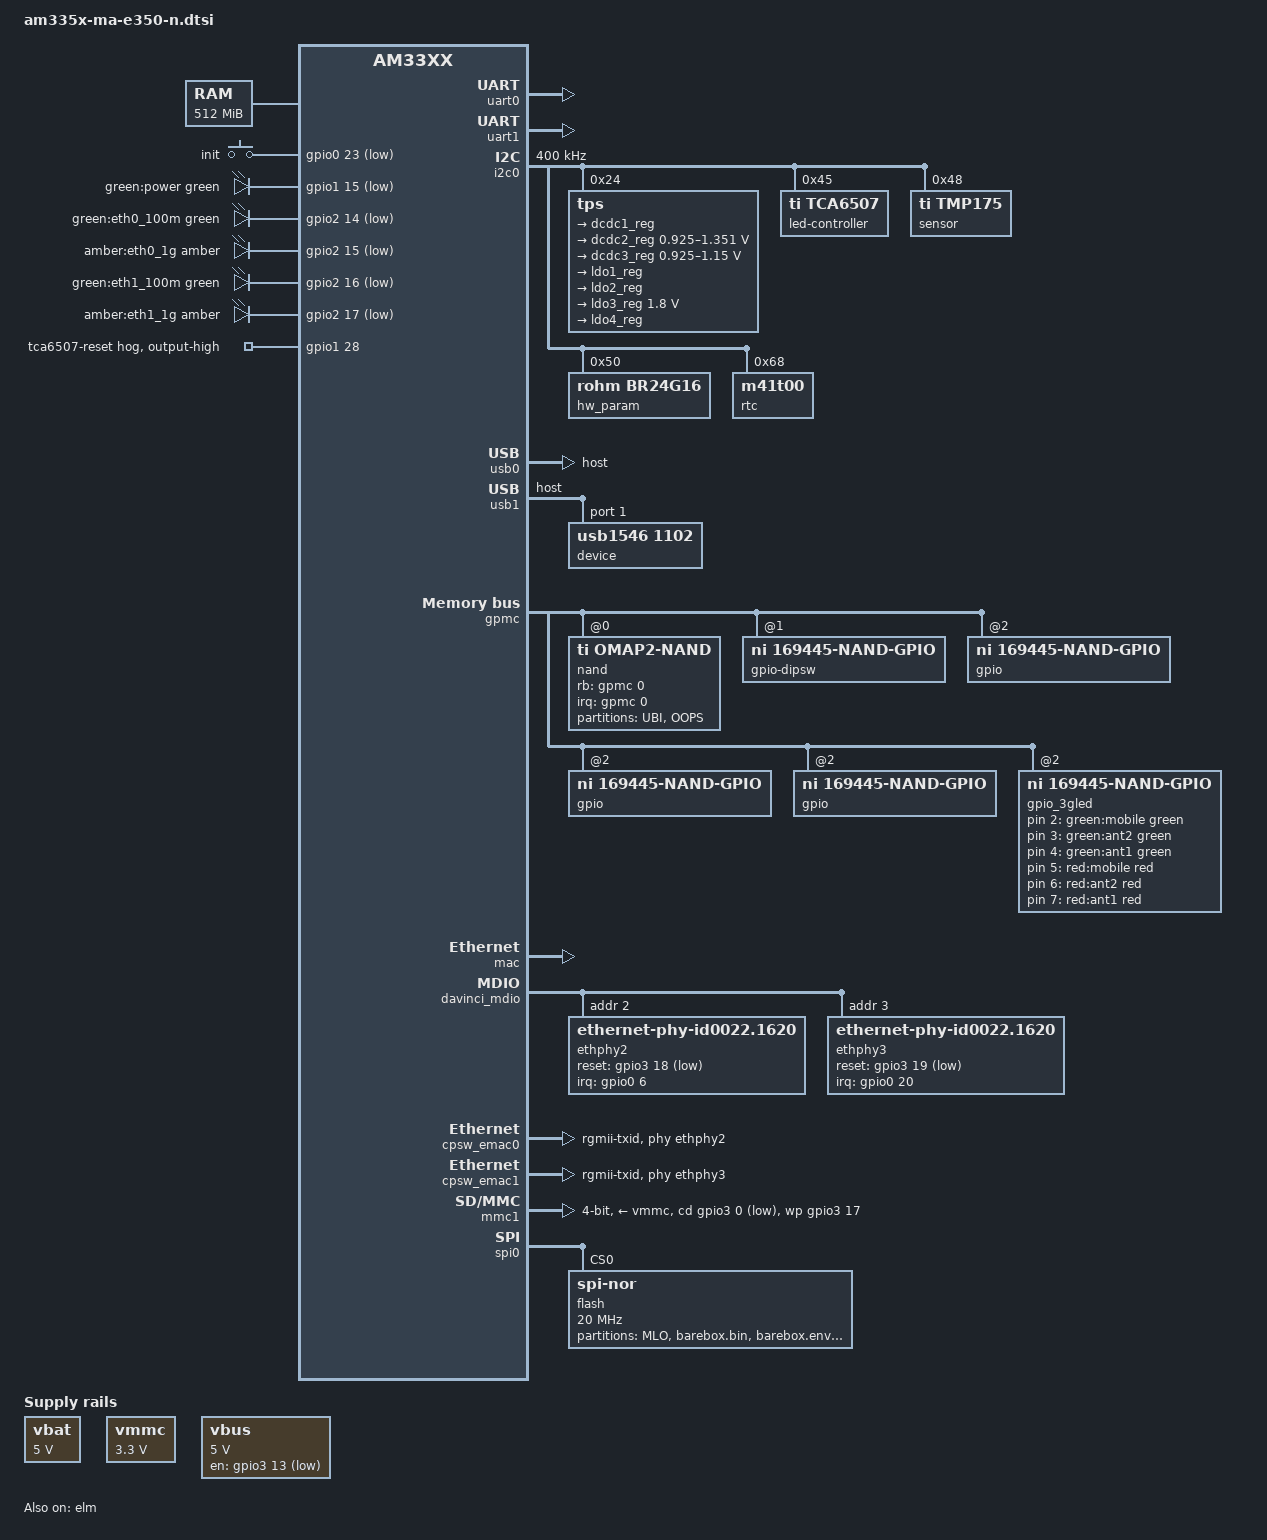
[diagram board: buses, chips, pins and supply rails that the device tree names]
// SPDX-License-Identifier: GPL-2.0-or-later

/dts-v1/;

#include "am33xx.dtsi"

#include <dt-bindings/input/input.h>
#include <dt-bindings/leds/common.h>
#include <dt-bindings/interrupt-controller/irq.h>

/ {
	cpus {
		cpu@0 {
			cpu0-supply = <&dcdc2_reg>;
		};
	};

	memory@80000000 {
		device_type = "memory";
		reg = <0x80000000 0x20000000>; /* 512 MiB */
	};

	aliases {
		led-boot = &led_green_power;
		led-failsafe = &led_red_power;
		led-running = &led_green_power;
		led-upgrade = &led_green_power;
	};

	vbat: regulator-vbat {
		compatible = "regulator-fixed";
		regulator-name = "vbat";
		regulator-min-microvolt = <5000000>;
		regulator-max-microvolt = <5000000>;
		regulator-boot-on;
		regulator-always-on;
	};

	vmmc: regulator-vmmc {
		compatible = "regulator-fixed";
		regulator-name = "vmmc";
		regulator-min-microvolt = <3300000>;
		regulator-max-microvolt = <3300000>;
	};

	vbus: regulator-vbus {
		compatible = "regulator-fixed";
		regulator-name = "vbus";
		regulator-min-microvolt = <5000000>;
		regulator-max-microvolt = <5000000>;
		gpio = <&gpio3 13 GPIO_ACTIVE_HIGH>;
		regulator-always-on;
	};

	keys {
		pinctrl-names = "default";
		pinctrl-0 = <&pmx_key_pins>;
		compatible = "gpio-keys";

		init {
			label = "init";
			gpios = <&gpio0 23 GPIO_ACTIVE_LOW>;
			linux,code = <BTN_0>;
			wakeup-source;
		};
	};

	leds {
		pinctrl-names = "default";
		pinctrl-0 = <&pmx_led_pins>;
		compatible = "gpio-leds";

		led_green_power: led-0 {
			label = "green:power";
			gpios = <&gpio1 15 GPIO_ACTIVE_LOW>;
			color = <LED_COLOR_ID_GREEN>;
			function = LED_FUNCTION_POWER;
		};

		led-1 {
			label = "green:eth0_100m";
			gpios = <&gpio2 14 GPIO_ACTIVE_LOW>;
			color = <LED_COLOR_ID_GREEN>;
			function = LED_FUNCTION_INDICATOR;
			function-enumerator = <1>;
		};

		led-2 {
			label = "amber:eth0_1g";
			gpios = <&gpio2 15 GPIO_ACTIVE_LOW>;
			color = <LED_COLOR_ID_AMBER>;
			function = LED_FUNCTION_INDICATOR;
			function-enumerator = <1>;
		};

		led-3 {
			label = "green:eth1_100m";
			gpios = <&gpio2 16 GPIO_ACTIVE_LOW>;
			color = <LED_COLOR_ID_GREEN>;
			function = LED_FUNCTION_INDICATOR;
			function-enumerator = <2>;
		};

		led-4 {
			label = "amber:eth1_1g";
			gpios = <&gpio2 17 GPIO_ACTIVE_LOW>;
			color = <LED_COLOR_ID_AMBER>;
			funtion = LED_FUNCTION_INDICATOR;
			function-enumerator = <2>;
		};

		/* 3G board */
		led-5 {
			label = "green:mobile";
			gpios = <&gpio_3gled 2 GPIO_ACTIVE_HIGH>;
			color = <LED_COLOR_ID_GREEN>;
		};

		led-6 {
			label = "green:ant2";
			gpios = <&gpio_3gled 3 GPIO_ACTIVE_HIGH>;
			color = <LED_COLOR_ID_GREEN>;
			function = LED_FUNCTION_WLAN;
			function-enumerator = <2>;
		};

		led-7 {
			label = "green:ant1";
			gpios = <&gpio_3gled 4 GPIO_ACTIVE_HIGH>;
			color = <LED_COLOR_ID_GREEN>;
			funtion = LED_FUNCTION_WLAN;
			function-enumerator = <1>;
		};

		led-8 {
			label = "red:mobile";
			gpios = <&gpio_3gled 5 GPIO_ACTIVE_HIGH>;
			color = <LED_COLOR_ID_RED>;
		};

		led-9 {
			label = "red:ant2";
			gpios = <&gpio_3gled 6 GPIO_ACTIVE_HIGH>;
			color = <LED_COLOR_ID_RED>;
			funtion = LED_FUNCTION_WLAN;
			function-enumerator = <2>;
		};

		led-10 {
			label = "red:ant1";
			gpios = <&gpio_3gled 7 GPIO_ACTIVE_HIGH>;
			color = <LED_COLOR_ID_RED>;
			function = LED_FUNCTION_WLAN;
			function-enumerator = <1>;
		};
	};
};

&am33xx_pinmux {
	pmx_i2c0_pins: i2c0_pins {
		pinctrl-single,pins = <
			AM33XX_PADCONF(AM335X_PIN_I2C0_SDA, PIN_INPUT_PULLUP, MUX_MODE0) /* i2c0_sda.i2c0_sda */
			AM33XX_PADCONF(AM335X_PIN_I2C0_SCL, PIN_INPUT_PULLUP, MUX_MODE0) /* i2c0_scl.i2c0_scl */
		>;
	};

	pmx_spi0_pins: spi0_pins {
		pinctrl-single,pins = <
			AM33XX_PADCONF(AM335X_PIN_SPI0_SCLK, PIN_INPUT, MUX_MODE0) /* spi0_sclk.spi0_sclk */
			AM33XX_PADCONF(AM335X_PIN_SPI0_D0,   PIN_INPUT, MUX_MODE0) /* spi0_d0.spi0_d0 */
			AM33XX_PADCONF(AM335X_PIN_SPI0_D1,   PIN_INPUT, MUX_MODE0) /* spi0_d1.spi0_d1 */
			AM33XX_PADCONF(AM335X_PIN_SPI0_CS0,  PIN_INPUT, MUX_MODE0) /* spi0_cs0.spi0_cs0 */
		>;
	};

	pmx_uart0_pins: uart0_pins {
		pinctrl-single,pins = <
			AM33XX_PADCONF(AM335X_PIN_UART0_RXD,  PIN_INPUT,  MUX_MODE0) /* uart0_rxd.uart0_rxd */
			AM33XX_PADCONF(AM335X_PIN_UART0_TXD,  PIN_OUTPUT, MUX_MODE0) /* uart0_txd.uart0_txd */
			AM33XX_PADCONF(AM335X_PIN_UART0_RTSN, PIN_OUTPUT, MUX_MODE0) /* uart0_rtsn.uart0_rtsn */
			AM33XX_PADCONF(AM335X_PIN_UART0_CTSN, PIN_INPUT,  MUX_MODE0) /* uart0_ctsn.uart0_ctsn */

			AM33XX_PADCONF(AM335X_PIN_LCD_VSYNC,  PIN_OUTPUT, MUX_MODE7) /* lcd_vsync.gpio2_22 (DTR) */
			AM33XX_PADCONF(AM335X_PIN_LCD_HSYNC,  PIN_INPUT,  MUX_MODE7) /* lcd_hsync.gpio2_23 (DSR) */
			AM33XX_PADCONF(AM335X_PIN_LCD_PCLK,   PIN_INPUT,  MUX_MODE7) /* lcd_pclk.gpio2_24  (DCD) */
		>;
	};

	pmx_uart1_pins: uart1_pins {
		pinctrl-single,pins = <
			AM33XX_PADCONF(AM335X_PIN_UART1_RXD,  PIN_INPUT,  MUX_MODE0) /* uart1_rxd.uart1_rxd */
			AM33XX_PADCONF(AM335X_PIN_UART1_TXD,  PIN_OUTPUT, MUX_MODE0) /* uart1_txd.uart1_txd */
			AM33XX_PADCONF(AM335X_PIN_UART1_RTSN, PIN_OUTPUT, MUX_MODE0) /* uart1_rtsn.uart1_rtsn */
			AM33XX_PADCONF(AM335X_PIN_UART1_CTSN, PIN_INPUT,  MUX_MODE0) /* uart1_ctsn.uart1_ctsn */

			AM33XX_PADCONF(AM335X_PIN_GPMC_AD12,  PIN_OUTPUT, MUX_MODE7) /* gpmc_ad12.gpio1_12 (DTR) */
			AM33XX_PADCONF(AM335X_PIN_GPMC_AD13,  PIN_INPUT,  MUX_MODE7) /* gpmc_ad13.gpio1_13 (DSR) */
			AM33XX_PADCONF(AM335X_PIN_GPMC_AD14,  PIN_INPUT,  MUX_MODE7) /* gpmc_ad14.gpio1_14 (DCD) */
			AM33XX_PADCONF(AM335X_PIN_GPMC_AD11,  PIN_INPUT,  MUX_MODE7) /* gpmc_ad11.gpio0_27 (RNG) */

			AM33XX_PADCONF(AM335X_PIN_MCASP0_AXR1,   PIN_OUTPUT, MUX_MODE7) /* mcasp0_axr1.gpio3_20  (TXEN) */
			AM33XX_PADCONF(AM335X_PIN_MCASP0_AHCLKX, PIN_OUTPUT, MUX_MODE7) /* mcasp0_ahclkx.gpio3_21 (RXEN) */
		>;
	};

	pmx_nandflash_pins_s0: nandflash_pins_0 {
		pinctrl-single,pins = <
			AM33XX_PADCONF(AM335X_PIN_GPMC_AD0,      PIN_INPUT,  MUX_MODE0) /* gpmc_ad0.gpmc_ad0 */
			AM33XX_PADCONF(AM335X_PIN_GPMC_AD1,      PIN_INPUT,  MUX_MODE0) /* gpmc_ad1.gpmc_ad1 */
			AM33XX_PADCONF(AM335X_PIN_GPMC_AD2,      PIN_INPUT,  MUX_MODE0) /* gpmc_ad2.gpmc_ad2 */
			AM33XX_PADCONF(AM335X_PIN_GPMC_AD3,      PIN_INPUT,  MUX_MODE0) /* gpmc_ad3.gpmc_ad3 */
			AM33XX_PADCONF(AM335X_PIN_GPMC_AD4,      PIN_INPUT,  MUX_MODE0) /* gpmc_ad4.gpmc_ad4 */
			AM33XX_PADCONF(AM335X_PIN_GPMC_AD5,      PIN_INPUT,  MUX_MODE0) /* gpmc_ad5.gpmc_ad5 */
			AM33XX_PADCONF(AM335X_PIN_GPMC_AD6,      PIN_INPUT,  MUX_MODE0) /* gpmc_ad6.gpmc_ad6 */
			AM33XX_PADCONF(AM335X_PIN_GPMC_AD7,      PIN_INPUT,  MUX_MODE0) /* gpmc_ad7.gpmc_ad7 */
			AM33XX_PADCONF(AM335X_PIN_GPMC_WAIT0,    PIN_INPUT,  MUX_MODE0) /* gpmc_wait0.gpmc_wait0 */
			AM33XX_PADCONF(AM335X_PIN_GPMC_WPN,      PIN_OUTPUT, MUX_MODE7) /* gpmc_wpn.gpio0_30 */
			AM33XX_PADCONF(AM335X_PIN_GPMC_CSN0,     PIN_OUTPUT, MUX_MODE0) /* gpmc_csn0.gpmc_csn0  */
			AM33XX_PADCONF(AM335X_PIN_GPMC_ADVN_ALE, PIN_OUTPUT, MUX_MODE0) /* gpmc_advn_ale.gpmc_advn_ale */
			AM33XX_PADCONF(AM335X_PIN_GPMC_OEN_REN,  PIN_OUTPUT, MUX_MODE0) /* gpmc_oen_ren.gpmc_oen_ren */
			AM33XX_PADCONF(AM335X_PIN_GPMC_WEN,      PIN_OUTPUT, MUX_MODE0) /* gpmc_wen.gpmc_wen */
			AM33XX_PADCONF(AM335X_PIN_GPMC_BEN0_CLE, PIN_OUTPUT, MUX_MODE0) /* gpmc_be0n_cle.gpmc_be0n_cle */
		>;
	};

	pmx_cpsw_default: cpsw_default {
		pinctrl-single,pins = <
			/* Slave 1 */
			AM33XX_PADCONF(AM335X_PIN_MII1_TX_EN,  PIN_OUTPUT_PULLDOWN, MUX_MODE2) /* mii1_txen.rgmii1_tctl */
			AM33XX_PADCONF(AM335X_PIN_MII1_RX_DV,  PIN_INPUT_PULLDOWN,  MUX_MODE2) /* mii1_rxdv.rgmii1_rctl */
			AM33XX_PADCONF(AM335X_PIN_MII1_TXD3,   PIN_OUTPUT_PULLDOWN, MUX_MODE2) /* mii1_txd3.rgmii1_td3 */
			AM33XX_PADCONF(AM335X_PIN_MII1_TXD2,   PIN_OUTPUT_PULLDOWN, MUX_MODE2) /* mii1_txd2.rgmii1_td2 */
			AM33XX_PADCONF(AM335X_PIN_MII1_TXD1,   PIN_OUTPUT_PULLDOWN, MUX_MODE2) /* mii1_txd1.rgmii1_td1 */
			AM33XX_PADCONF(AM335X_PIN_MII1_TXD0,   PIN_OUTPUT_PULLDOWN, MUX_MODE2) /* mii1_txd0.rgmii1_td0 */
			AM33XX_PADCONF(AM335X_PIN_MII1_TX_CLK, PIN_OUTPUT_PULLDOWN, MUX_MODE2) /* mii1_txclk.rgmii1_tclk */
			AM33XX_PADCONF(AM335X_PIN_MII1_RX_CLK, PIN_INPUT_PULLDOWN,  MUX_MODE2) /* mii1_rxclk.rgmii1_rclk */
			AM33XX_PADCONF(AM335X_PIN_MII1_RXD3,   PIN_INPUT_PULLDOWN,  MUX_MODE2) /* mii1_rxd3.rgmii1_rd3 */
			AM33XX_PADCONF(AM335X_PIN_MII1_RXD2,   PIN_INPUT_PULLDOWN,  MUX_MODE2) /* mii1_rxd2.rgmii1_rd2 */
			AM33XX_PADCONF(AM335X_PIN_MII1_RXD1,   PIN_INPUT_PULLDOWN,  MUX_MODE2) /* mii1_rxd1.rgmii1_rd1 */
			AM33XX_PADCONF(AM335X_PIN_MII1_RXD0,   PIN_INPUT_PULLDOWN,  MUX_MODE2) /* mii1_rxd0.rgmii1_rd0 */

			/* Slave 2 */
			AM33XX_PADCONF(AM335X_PIN_GPMC_A0,  PIN_OUTPUT_PULLDOWN, MUX_MODE2) /* gpmc_a0.rgmii2_tctl */
			AM33XX_PADCONF(AM335X_PIN_GPMC_A1,  PIN_INPUT_PULLDOWN,  MUX_MODE2) /* gpmc_a1.rgmii2_rctl */
			AM33XX_PADCONF(AM335X_PIN_GPMC_A2,  PIN_OUTPUT_PULLDOWN, MUX_MODE2) /* gpmc_a2.rgmii2_td3 */
			AM33XX_PADCONF(AM335X_PIN_GPMC_A3,  PIN_OUTPUT_PULLDOWN, MUX_MODE2) /* gpmc_a3.rgmii2_td2 */
			AM33XX_PADCONF(AM335X_PIN_GPMC_A4,  PIN_OUTPUT_PULLDOWN, MUX_MODE2) /* gpmc_a4.rgmii2_td1 */
			AM33XX_PADCONF(AM335X_PIN_GPMC_A5,  PIN_OUTPUT_PULLDOWN, MUX_MODE2) /* gpmc_a5.rgmii2_td0 */
			AM33XX_PADCONF(AM335X_PIN_GPMC_A6,  PIN_OUTPUT_PULLDOWN, MUX_MODE2) /* gpmc_a6.rgmii2_tclk */
			AM33XX_PADCONF(AM335X_PIN_GPMC_A7,  PIN_INPUT_PULLDOWN,  MUX_MODE2) /* gpmc_a7.rgmii2_rclk */
			AM33XX_PADCONF(AM335X_PIN_GPMC_A8,  PIN_INPUT_PULLDOWN,  MUX_MODE2) /* gpmc_a8.rgmii2_rd3 */
			AM33XX_PADCONF(AM335X_PIN_GPMC_A9,  PIN_INPUT_PULLDOWN,  MUX_MODE2) /* gpmc_a9.rgmii2_rd2 */
			AM33XX_PADCONF(AM335X_PIN_GPMC_A10, PIN_INPUT_PULLDOWN,  MUX_MODE2) /* gpmc_a10.rgmii2_rd1 */
			AM33XX_PADCONF(AM335X_PIN_GPMC_A11, PIN_INPUT_PULLDOWN,  MUX_MODE2) /* gpmc_a11.rgmii2_rd0 */
		>;
	};

	pmx_cpsw_sleep: cpsw_sleep {
		pinctrl-single,pins = <
			/* Slave 1 */
			AM33XX_PADCONF(AM335X_PIN_MII1_TX_EN,  PIN_INPUT_PULLDOWN, MUX_MODE7) /* mii1_txen.rgmii1_tctl */
			AM33XX_PADCONF(AM335X_PIN_MII1_RX_DV,  PIN_INPUT_PULLDOWN, MUX_MODE7) /* mii1_rxdv.rgmii1_rctl */
			AM33XX_PADCONF(AM335X_PIN_MII1_TXD3,   PIN_INPUT_PULLDOWN, MUX_MODE7) /* mii1_txd3.rgmii1_td3 */
			AM33XX_PADCONF(AM335X_PIN_MII1_TXD2,   PIN_INPUT_PULLDOWN, MUX_MODE7) /* mii1_txd2.rgmii1_td2 */
			AM33XX_PADCONF(AM335X_PIN_MII1_TXD1,   PIN_INPUT_PULLDOWN, MUX_MODE7) /* mii1_txd1.rgmii1_td1 */
			AM33XX_PADCONF(AM335X_PIN_MII1_TXD0,   PIN_INPUT_PULLDOWN, MUX_MODE7) /* mii1_txd0.rgmii1_td0 */
			AM33XX_PADCONF(AM335X_PIN_MII1_TX_CLK, PIN_INPUT_PULLDOWN, MUX_MODE7) /* mii1_txclk.rgmii1_tclk */
			AM33XX_PADCONF(AM335X_PIN_MII1_RX_CLK, PIN_INPUT_PULLDOWN, MUX_MODE7) /* mii1_rxclk.rgmii1_rclk */
			AM33XX_PADCONF(AM335X_PIN_MII1_RXD3,   PIN_INPUT_PULLDOWN, MUX_MODE7) /* mii1_rxd3.rgmii1_rd3 */
			AM33XX_PADCONF(AM335X_PIN_MII1_RXD2,   PIN_INPUT_PULLDOWN, MUX_MODE7) /* mii1_rxd2.rgmii1_rd2 */
			AM33XX_PADCONF(AM335X_PIN_MII1_RXD1,   PIN_INPUT_PULLDOWN, MUX_MODE7) /* mii1_rxd1.rgmii1_rd1 */
			AM33XX_PADCONF(AM335X_PIN_MII1_RXD0,   PIN_INPUT_PULLDOWN, MUX_MODE7) /* mii1_rxd0.rgmii1_rd0 */

			/* Slave 2 */
			AM33XX_PADCONF(AM335X_PIN_GPMC_A0,  PIN_INPUT_PULLDOWN, MUX_MODE7) /* gpmc_a0.rgmii2_tctl */
			AM33XX_PADCONF(AM335X_PIN_GPMC_A1,  PIN_INPUT_PULLDOWN, MUX_MODE7) /* gpmc_a1.rgmii2_rctl */
			AM33XX_PADCONF(AM335X_PIN_GPMC_A2,  PIN_INPUT_PULLDOWN, MUX_MODE7) /* gpmc_a2.rgmii2_td3 */
			AM33XX_PADCONF(AM335X_PIN_GPMC_A3,  PIN_INPUT_PULLDOWN, MUX_MODE7) /* gpmc_a3.rgmii2_td2 */
			AM33XX_PADCONF(AM335X_PIN_GPMC_A4,  PIN_INPUT_PULLDOWN, MUX_MODE7) /* gpmc_a4.rgmii2_td1 */
			AM33XX_PADCONF(AM335X_PIN_GPMC_A5,  PIN_INPUT_PULLDOWN, MUX_MODE7) /* gpmc_a5.rgmii2_td0 */
			AM33XX_PADCONF(AM335X_PIN_GPMC_A6,  PIN_INPUT_PULLDOWN, MUX_MODE7) /* gpmc_a6.rgmii2_tclk */
			AM33XX_PADCONF(AM335X_PIN_GPMC_A7,  PIN_INPUT_PULLDOWN, MUX_MODE7) /* gpmc_a7.rgmii2_rclk */
			AM33XX_PADCONF(AM335X_PIN_GPMC_A8,  PIN_INPUT_PULLDOWN, MUX_MODE7) /* gpmc_a8.rgmii2_rd3 */
			AM33XX_PADCONF(AM335X_PIN_GPMC_A9,  PIN_INPUT_PULLDOWN, MUX_MODE7) /* gpmc_a9.rgmii2_rd2 */
			AM33XX_PADCONF(AM335X_PIN_GPMC_A10, PIN_INPUT_PULLDOWN, MUX_MODE7) /* gpmc_a10.rgmii2_rd1 */
			AM33XX_PADCONF(AM335X_PIN_GPMC_A11, PIN_INPUT_PULLDOWN, MUX_MODE7) /* gpmc_a11.rgmii2_rd0 */
		>;
	};

	pmx_davinci_mdio_default: davinci_mdio_default {
		pinctrl-single,pins = <
			/* MDIO */
			AM33XX_PADCONF(AM335X_PIN_MDIO, PIN_INPUT | SLEWCTRL_SLOW, MUX_MODE0) /* mdio_data.mdio_data */
			AM33XX_PADCONF(AM335X_PIN_MDC,  PIN_OUTPUT, MUX_MODE0)                /* mdio_clk.mdio_clk */

			/* PHY0/1 Reset */
			AM33XX_PADCONF(AM335X_PIN_MCASP0_ACLKR, PIN_OUTPUT, MUX_MODE7) /* mcasp0_aclkr.gpio3_18 */
			AM33XX_PADCONF(AM335X_PIN_MCASP0_FSR,   PIN_OUTPUT, MUX_MODE7) /* mcasp0_fsr.gpio3_19 */

			/* PHY0/1 Interrupt */
			AM33XX_PADCONF(AM335X_PIN_SPI0_CS1,         PIN_INPUT, MUX_MODE7) /* spi0_cs1.gpio0_6 */
			AM33XX_PADCONF(AM335X_PIN_XDMA_EVENT_INTR1, PIN_INPUT, MUX_MODE7) /* xdma_event_intr1.gpio0_20 */
		>;
	};

	pmx_davinci_mdio_sleep: davinci_mdio_sleep {
		pinctrl-single,pins = <
			/* MDIO */
			AM33XX_PADCONF(AM335X_PIN_MDIO, PIN_INPUT_PULLDOWN, MUX_MODE7) /* mdio_data.mdio_data */
			AM33XX_PADCONF(AM335X_PIN_MDC,  PIN_INPUT_PULLDOWN, MUX_MODE7) /* mdio_clk.mdio_clk */

			/* PHY0/1 Reset */
			AM33XX_PADCONF(AM335X_PIN_MCASP0_ACLKR, PIN_OUTPUT, MUX_MODE7) /* mcasp0_aclkr.gpio3_18 */
			AM33XX_PADCONF(AM335X_PIN_MCASP0_FSR,   PIN_OUTPUT, MUX_MODE7) /* mcasp0_fsr.gpio3_19 */
		>;
	};

	pmx_mmc1_pins: mmc1_pins {
		pinctrl-single,pins = <
			AM33XX_PADCONF(AM335X_PIN_MII1_COL,      PIN_INPUT, MUX_MODE7) /* mii1_col.gpio3_0 */
			AM33XX_PADCONF(AM335X_PIN_MCASP0_AHCLKR, PIN_INPUT, MUX_MODE7) /* mcasp0_ahclkr.gpio3_17 */
		>;
	};

	pmx_led_pins: led_pins {
		pinctrl-single,pins = <
			AM33XX_PADCONF(AM335X_PIN_GPMC_AD15,  PIN_OUTPUT, MUX_MODE7) /* gpmc_ad15.gpio1_15 */
			AM33XX_PADCONF(AM335X_PIN_LCD_DATA8,  PIN_OUTPUT, MUX_MODE7) /* lcd_data8.gpio2_14 */
			AM33XX_PADCONF(AM335X_PIN_LCD_DATA9,  PIN_OUTPUT, MUX_MODE7) /* lcd_data9.gpio2_15 */
			AM33XX_PADCONF(AM335X_PIN_LCD_DATA10, PIN_OUTPUT, MUX_MODE7) /* lcd_data10.gpio2_16 */
			AM33XX_PADCONF(AM335X_PIN_LCD_DATA11, PIN_OUTPUT, MUX_MODE7) /* lcd_data11.gpio2_17 */
		>;
	};

	pmx_key_pins: key_pins {
		pinctrl-single,pins = <
			AM33XX_PADCONF(AM335X_PIN_GPMC_AD9, PIN_INPUT, MUX_MODE7) /* gpmc_ad9.gpio0_23 */
		>;
	};

	pmx_usb1_pins: usb1_pins {
		pinctrl-single,pins = <
			AM33XX_PADCONF(AM335X_PIN_USB1_DRVVBUS, PIN_OUTPUT, MUX_MODE7) /* usb1_drvvbus.gpio3_13 */
		>;
	};
};

&gpio0 {
	wakeup-source;
};

&gpio1 {
	tca6507-reset {
		gpio-hog;
		gpios = <28 GPIO_ACTIVE_HIGH>;
		output-high;
	};
};

/* RJ-45 */
&uart0 {
	pinctrl-names = "default";
	pinctrl-0 = <&pmx_uart0_pins>;

	status = "okay";

	dtr-gpios = <&gpio2 22 GPIO_ACTIVE_LOW>;
	dsr-gpios = <&gpio2 23 GPIO_ACTIVE_LOW>;
	dcd-gpios = <&gpio2 24 GPIO_ACTIVE_LOW>;
};

/* D-sub 9 */
&uart1 {
	pinctrl-names = "default";
	pinctrl-0 = <&pmx_uart1_pins>;

	status = "okay";

	dtr-gpios = <&gpio1 12 GPIO_ACTIVE_LOW>;
	dsr-gpios = <&gpio1 13 GPIO_ACTIVE_LOW>;
	dcd-gpios = <&gpio1 14 GPIO_ACTIVE_LOW>;
	rng-gpios = <&gpio0 27 GPIO_ACTIVE_LOW>;
};

&i2c0 {
	pinctrl-names = "default";
	pinctrl-0 = <&pmx_i2c0_pins>;

	status = "okay";

	clock-frequency = <400000>;

	tps: tps@24 {
		reg = <0x24>;
	};

	led-controller@45 {
		compatible = "ti,tca6507";
		reg = <0x45>;
		#address-cells = <1>;
		#size-cells = <0>;

		led_red_power: led@0 {
			label = "red:power";
			reg = <0x0>;
			color = <LED_COLOR_ID_RED>;
			function = LED_FUNCTION_SD;
		};

		led@1 {
			label = "red:status1";
			reg = <0x1>;
			color = <LED_COLOR_ID_RED>;
			function = LED_FUNCTION_STATUS;
			function-enumerator = <1>;
		};

		led@2 {
			label = "red:status2";
			reg = <0x2>;
			color = <LED_COLOR_ID_RED>;
			function = LED_FUNCTION_STATUS;
			function-enumerator = <2>;
		};

		led@3 {
			label = "red:status3";
			reg = <0x3>;
			color = <LED_COLOR_ID_RED>;
			function = LED_FUNCTION_STATUS;
			function-enumerator = <3>;
		};

		led@4 {
			label = "green:status1";
			reg = <0x4>;
			color = <LED_COLOR_ID_GREEN>;
			function = LED_FUNCTION_STATUS;
			function-enumerator = <1>;
		};

		led@5 {
			label = "green:status2";
			reg = <0x5>;
			color = <LED_COLOR_ID_GREEN>;
			function = LED_FUNCTION_STATUS;
			function-enumerator = <2>;
		};

		led@6 {
			label = "green:status3";
			reg = <0x6>;
			color = <LED_COLOR_ID_GREEN>;
			function = LED_FUNCTION_STATUS;
			function-enumerator = <3>;
		};
	};

	sensor@48 {
		compatible = "ti,tmp175";
		reg = <0x48>;
	};

	eeprom@50 {
		compatible = "rohm,br24g16", "atmel,24c16";
		reg = <0x50>;
		label = "hw_param";
		num-addresses = <8>;
		#address-cells = <1>;
		#size-cells = <1>;

		/*
		 * Hardware Parameters
		 *
		 * 0x0  -  0x5: LAN MAC Address
		 * 0x6  -  0xb: WAN MAC Address
		 * 0xc  - 0x13: Manufacture Date (text)
		 * 0x14 - 0x17: Serial Number (hex, LE)
		 * 0x18 - 0x1c: Board Number (text)
		 * 0x1d - 0x1e: Board Model (text)
		 *        0x1f: Board Revision (text)
		 * 0x20 - 0x23: Customer Code (text)
		 */
	};

	rtc@68 {
		compatible = "m41t00";
		reg = <0x68>;
	};
};

&usb0 {
	dr_mode = "host";
};

&usb1 {
	pinctrl-names = "default";
	pinctrl-0 = <&pmx_usb1_pins>;
	#address-cells = <1>;
	#size-cells = <0>;

	dr_mode = "host";

	/* u-blox LISA-U200 module */
	device@1 {
		compatible = "usb1546,1102";
		reg = <1>;
	};
};

&elm {
	status = "okay";
};

&gpmc {
	pinctrl-names = "default";
	pinctrl-0 = <&pmx_nandflash_pins_s0>;
	ranges = <0 0 0x08000000 0x01000000	/* CS0 : NAND */
		  1 0 0x10000000 0x01000000	/* CS1 : DIPSW */
		  2 0 0x11000000 0x01000000>;	/* CS2 : eXternal I/O */

	status = "okay";

	nand@0,0 {
		compatible = "ti,omap2-nand";
		reg = <0 0x0 0x4>; /* CS0, offset 0x0, IO size 0x4 */
		interrupt-parent = <&gpmc>;
		interrupts = <0 IRQ_TYPE_NONE>, /* fifoevent */
			     <1 IRQ_TYPE_NONE>; /* termcount */
		rb-gpios = <&gpmc 0 GPIO_ACTIVE_HIGH>; /* gpmc_wait0 */
		ti,nand-xfer-type = "prefetch-dma";
		ti,nand-ecc-opt = "bch8";
		ti,elm-id = <&elm>;
		nand-bus-width = <8>;

		gpmc,device-width = <1>;
		gpmc,sync-clk-ps = <0>;
		gpmc,cs-on-ns = <0>;
		gpmc,cs-rd-off-ns = <60>;
		gpmc,cs-wr-off-ns = <50>;
		gpmc,adv-on-ns = <0>;
		gpmc,adv-rd-off-ns = <60>;
		gpmc,adv-wr-off-ns = <50>;
		gpmc,we-on-ns = <0>;
		gpmc,we-off-ns = <30>;
		gpmc,oe-on-ns = <10>;
		gpmc,oe-off-ns = <60>;
		gpmc,access-ns = <50>;
		gpmc,rd-cycle-ns = <60>;
		gpmc,wr-cycle-ns = <50>;
		gpmc,bus-turnaround-ns = <0>;
		gpmc,cycle2cycle-delay-ns = <10>;
		gpmc,clk-activation-ns = <0>;
		gpmc,wait-monitoring-ns = <0>;
		gpmc,wr-access-ns = <30>;
		gpmc,wr-data-mux-bus-ns = <0>;

		partitions {
			compatible = "fixed-partitions";
			#address-cells = <1>;
			#size-cells = <1>;

			partition@0 {
				label = "UBI";
				reg = <0x00000000 0x0ff00000>;
			};

			partition@ff00000 {
				label = "OOPS";
				reg = <0x0ff00000 0x00100000>;
			};
		};
	};

	/*
	 * DIP Switch "CONFIG" (1-4)
	 *
	 * gpio-mmio driver has no generic "compatible",
	 * use "ni,169445-nand-gpio" instead
	 */
	gpio-dipsw@1,0 {
		compatible = "ni,169445-nand-gpio";
		reg = <1 0x0 0x1>; /* CS1, offset 0x0, IO size 0x1 */
		reg-names = "dat";
		bank-width = <2>;
		gpio-controller;
		#gpio-cells = <2>;

		gpmc,mux-add-data = <2>;
		gpmc,device-width = <2>;
		gpmc,wait-pin = <1>;
		gpmc,burst-length = <4>;

		gpmc,cs-on-ns = <0>;		/* 0 ns - 0 ns; 0 ticks */
		gpmc,cs-rd-off-ns = <160>;	/* 151 ns - 160 ns; 16 ticks */
		gpmc,cs-wr-off-ns = <200>;	/* 191 ns - 200 ns; 20 ticks */
		gpmc,adv-on-ns = <0>;		/* 0 ns - 0 ns; 0 ticks */
		gpmc,adv-rd-off-ns = <20>;	/* 11 ns - 20 ns; 2 ticks */
		gpmc,adv-wr-off-ns = <20>;	/* 11 ns - 20 ns; 2 ticks */
		gpmc,adv-aad-mux-on-ns = <0>;	/* 0 ns - 0 ns; 0 ticks */
		gpmc,adv-aad-mux-rd-off-ns = <0>; /* 0 ns - 0 ns; 0 ticks */
		gpmc,adv-aad-mux-wr-off-ns = <0>; /* 0 ns - 0 ns; 0 ticks */
		gpmc,oe-on-ns = <50>;		/* 41 ns - 50 ns; 5 ticks */
		gpmc,oe-off-ns = <140>;		/* 131 ns - 140 ns; 14 ticks */
		gpmc,oe-aad-mux-on-ns = <0>;	/* 0 ns - 0 ns; 0 ticks */
		gpmc,oe-aad-mux-off-ns = <0>;	/* 0 ns - 0 ns; 0 ticks */
		gpmc,we-on-ns = <50>;		/* 41 ns - 50 ns; 5 ticks */
		gpmc,we-off-ns = <180>;		/* 171 ns - 180 ns; 18 ticks */
		gpmc,rd-cycle-ns = <190>;	/* 181 ns - 190 ns; 19 ticks */
		gpmc,wr-cycle-ns = <230>;	/* 221 ns - 230 ns; 23 ticks */
		gpmc,access-ns = <130>;		/* 121 ns - 130 ns; 13 ticks */
		gpmc,page-burst-access-ns = <0>; /* 0 ns - 0 ns; 0 ticks */
		gpmc,bus-turnaround-ns = <0>;	/* 0 ns - 0 ns; 0 ticks */
		gpmc,cycle2cycle-delay-ns = <0>; /* 0 ns - 0 ns; 0 ticks */
		gpmc,wait-monitoring-ns = <0>;	/* 0 ns - 0 ns; 0 ticks */
		gpmc,clk-activation-ns = <0>;	/* 0 ns - 0 ns; 0 ticks */
		gpmc,wr-data-mux-bus-ns = <50>; /* 41 ns - 50 ns; 5 ticks */
		gpmc,wr-access-ns = <180>;	/* 171 ns - 180 ns; 18 ticks */

		config-1 {
			gpio-hog;
			gpios = <0 GPIO_ACTIVE_HIGH>;
			input;
		};

		config-2 {
			gpio-hog;
			gpios = <1 GPIO_ACTIVE_HIGH>;
			input;
		};

		config-3 {
			gpio-hog;
			gpios = <2 GPIO_ACTIVE_HIGH>;
			input;
		};

		config-4 {
			gpio-hog;
			gpios = <3 GPIO_ACTIVE_HIGH>;
			input;
		};
	};

	/* Expansion I/O Board Status */
	gpio@2,2 {
		reg = <2 0x2 0x1>; /* CS2, offset 0x2, IO size 0x1 */
		#gpio-cells = <2>;
		compatible = "ni,169445-nand-gpio";
		bank-width = <2>;
		gpio-controller;
		reg-names = "dat";

		gpmc,mux-add-data = <2>;
		gpmc,device-width = <32>;
		gpmc,wait-pin = <1>;
		gpmc,burst-length = <4>;

		gpmc,cs-on-ns = <0>;		/* 0 ns - 0 ns; 0 ticks */
		gpmc,cs-rd-off-ns = <160>;	/* 151 ns - 160 ns; 16 ticks */
		gpmc,cs-wr-off-ns = <200>;	/* 191 ns - 200 ns; 20 ticks */
		gpmc,adv-on-ns = <0>;		/* 0 ns - 0 ns; 0 ticks */
		gpmc,adv-rd-off-ns = <20>;	/* 11 ns - 20 ns; 2 ticks */
		gpmc,adv-wr-off-ns = <20>;	/* 11 ns - 20 ns; 2 ticks */
		gpmc,adv-aad-mux-on-ns = <0>;	/* 0 ns - 0 ns; 0 ticks */
		gpmc,adv-aad-mux-rd-off-ns = <0>; /* 0 ns - 0 ns; 0 ticks */
		gpmc,adv-aad-mux-wr-off-ns = <0>; /* 0 ns - 0 ns; 0 ticks */
		gpmc,oe-on-ns = <50>;		/* 41 ns - 50 ns; 5 ticks */
		gpmc,oe-off-ns = <140>;		/* 131 ns - 140 ns; 14 ticks */
		gpmc,oe-aad-mux-on-ns = <0>;	/* 0 ns - 0 ns; 0 ticks */
		gpmc,oe-aad-mux-off-ns = <0>;	/* 0 ns - 0 ns; 0 ticks */
		gpmc,we-on-ns = <50>;		/* 41 ns - 50 ns; 5 ticks */
		gpmc,we-off-ns = <180>;		/* 171 ns - 180 ns; 18 ticks */
		gpmc,rd-cycle-ns = <190>;	/* 181 ns - 190 ns; 19 ticks */
		gpmc,wr-cycle-ns = <230>;	/* 221 ns - 230 ns; 23 ticks */
		gpmc,access-ns = <130>;		/* 121 ns - 130 ns; 13 ticks */
		gpmc,page-burst-access-ns = <0>; /* 0 ns - 0 ns; 0 ticks */
		gpmc,bus-turnaround-ns = <0>;	/* 0 ns - 0 ns; 0 ticks */
		gpmc,cycle2cycle-delay-ns = <0>; /* 0 ns - 0 ns; 0 ticks */
		gpmc,wait-monitoring-ns = <0>;	/* 0 ns - 0 ns; 0 ticks */
		gpmc,clk-activation-ns = <0>;	/* 0 ns - 0 ns; 0 ticks */
		gpmc,wr-data-mux-bus-ns = <50>; /* 41 ns - 50 ns; 5 ticks */
		gpmc,wr-access-ns = <180>;	/* 171 ns - 180 ns; 18 ticks */

		/* variant of expansion I/O board */
		xio-status {
			gpio-hog;
			gpios = <0 GPIO_ACTIVE_HIGH>,
				<1 GPIO_ACTIVE_HIGH>,
				<2 GPIO_ACTIVE_HIGH>,
				<3 GPIO_ACTIVE_HIGH>,
				<4 GPIO_ACTIVE_HIGH>,
				<5 GPIO_ACTIVE_HIGH>,
				<6 GPIO_ACTIVE_HIGH>,
				<7 GPIO_ACTIVE_HIGH>;
			input;
		};
	};

	/* 3G Board Control */
	gpio@2,10 {
		reg = <2 0x10 0x1>; /* CS2, offset 0x10, IO size 0x1 */
		#gpio-cells = <2>;
		compatible = "ni,169445-nand-gpio";
		gpio-controller;
		reg-names = "dat";

		/*
		 * 0: 3G Board Power ON
		 * 1: 3G Board RESET
		 */
	};

	/* 3G Board Status */
	gpio@2,12 {
		reg = <2 0x12 0x1>; /* CS2, offset 0x12, IO size 0x1 */
		#gpio-cells = <2>;
		compatible = "ni,169445-nand-gpio";
		gpio-controller;
		reg-names = "dat";

		3g-sim-cd {
			gpio-hog;
			gpios = <0 GPIO_ACTIVE_LOW>;
			input;
		};

		3g-module-pwrgood {
			gpio-hog;
			gpios = <1 GPIO_ACTIVE_HIGH>;
			input;
		};

		3g-module-avail {
			gpio-hog;
			gpios = <2 GPIO_ACTIVE_HIGH>;
			input;
		};
	};

	/* 3G Board LEDs */
	gpio_3gled: gpio@2,14 {
		reg = <2 0x14 0x1>; /* CS2, offset 0x14, IO size 0x1 */
		#gpio-cells = <2>;
		compatible = "ni,169445-nand-gpio";
		gpio-controller;
		reg-names = "dat";
	};
};

#include "tps65217.dtsi"

&tps {
	ti,pmic-shutdown-controller;
	interrupt-parent = <&intc>;
	interrupts = <7>;

	regulators {
		dcdc1_reg: regulator@0 {
			regulator-name = "vdds_dpr";
			regulator-always-on;
		};

		dcdc2_reg: regulator@1 {
			regulator-name = "vdd_mpu";
			regulator-min-microvolt = <925000>;
			regulator-max-microvolt = <1351500>;
			regulator-boot-on;
			regulator-always-on;
		};

		dcdc3_reg: regulator@2 {
			regulator-name = "vdd_core";
			regulator-min-microvolt = <925000>;
			regulator-max-microvolt = <1150000>;
			regulator-boot-on;
			regulator-always-on;
		};

		ldo1_reg: regulator@3 {
			regulator-name = "vio,vrtc,vdds";
			regulator-always-on;
		};

		ldo2_reg: regulator@4 {
			regulator-name = "vdd_3v3aux";
			regulator-always-on;
		};

		ldo3_reg: regulator@5 {
			regulator-name = "vdd_1v8";
			regulator-min-microvolt = <1800000>;
			regulator-max-microvolt = <1800000>;
			regulator-always-on;
		};

		ldo4_reg: regulator@6 {
			regulator-name = "vdd_3v3a";
			regulator-always-on;
		};
	};
};

&mac {
	pinctrl-names = "default", "sleep";
	pinctrl-0 = <&pmx_cpsw_default>;
	pinctrl-1 = <&pmx_cpsw_sleep>;
	status = "okay";

	mac_control = <0x38>;
	slaves = <2>;
	dual_emac;
};

&davinci_mdio {
	pinctrl-names = "default", "sleep";
	pinctrl-0 = <&pmx_davinci_mdio_default>;
	pinctrl-1 = <&pmx_davinci_mdio_sleep>;
	status = "okay";

	ethphy2: ethernet-phy@2 {
		compatible = "ethernet-phy-id0022.1620",
			     "ethernet-phy-ieee802.3-c22";
		reg = <2>;

		interrupt-parent = <&gpio0>;
		interrupts = <6 IRQ_TYPE_LEVEL_LOW>;
		reset-gpios = <&gpio3 18 GPIO_ACTIVE_LOW>;

		rxc-skew-ps = <1020>;
		txc-skew-ps = <1140>;
		rxdv-skew-ps = <420>;
		txen-skew-ps = <420>;
		rxd0-skew-ps = <420>;
		rxd1-skew-ps = <420>;
		rxd2-skew-ps = <420>;
		rxd3-skew-ps = <420>;
		txd0-skew-ps = <420>;
		txd1-skew-ps = <420>;
		txd2-skew-ps = <420>;
		txd3-skew-ps = <420>;
	};

	ethphy3: ethernet-phy@3 {
		compatible = "ethernet-phy-id0022.1620",
			     "ethernet-phy-ieee802.3-c22";
		reg = <3>;

		interrupt-parent = <&gpio0>;
		interrupts = <20 IRQ_TYPE_LEVEL_LOW>;
		reset-gpios = <&gpio3 19 GPIO_ACTIVE_LOW>;

		rxc-skew-ps = <1140>;
		txc-skew-ps = <1440>;
		rxdv-skew-ps = <420>;
		txen-skew-ps = <420>;
		rxd0-skew-ps = <420>;
		rxd1-skew-ps = <420>;
		rxd2-skew-ps = <420>;
		rxd3-skew-ps = <420>;
		txd0-skew-ps = <420>;
		txd1-skew-ps = <420>;
		txd2-skew-ps = <420>;
		txd3-skew-ps = <420>;
	};
};

&cpsw_emac0 {
	phy-handle = <&ethphy2>;
	phy-mode = "rgmii-txid";
	dual_emac_res_vlan = <4000>;
};

&cpsw_emac1 {
	phy-handle = <&ethphy3>;
	phy-mode = "rgmii-txid";
	dual_emac_res_vlan = <4001>;
};

&mmc1 {
	pinctrl-names = "default";
	pinctrl-0 = <&pmx_mmc1_pins>;

	status = "okay";

	vmmc-supply = <&vmmc>;
	bus-width = <4>;
	cd-gpios = <&gpio3 0 GPIO_ACTIVE_LOW>;
	wp-gpios = <&gpio3 17 GPIO_ACTIVE_HIGH>;
};

&spi0 {
	pinctrl-names = "default";
	pinctrl-0 = <&pmx_spi0_pins>;

	status = "okay";

	flash@0 {
		compatible = "jedec,spi-nor";
		spi-max-frequency = <20000000>;
		m25p,fast-read;
		reg = <0>;

		partitions {
			compatible = "fixed-partitions";
			#address-cells = <1>;
			#size-cells = <1>;

			partition@0 {
				label = "MLO";
				reg = <0x00000000 0x00020000>;
				read-only;
			};

			partition@20000 {
				label = "barebox.bin";
				reg = <0x00020000 0x00080000>;
				read-only;
			};

			partition@a0000 {
				label = "barebox.env";
				reg = <0x000a0000 0x00020000>;
			};

			partition@c0000 {
				label = "dtb.0";
				reg = <0x000c0000 0x00020000>;
				read-only;
			};

			partition@e0000 {
				label = "dtb.1";
				reg = <0x000e0000 0x00020000>;
				read-only;
			};

			partition@100000 {
				label = "hist_firmup";
				reg = <0x00100000 0x00020000>;
				read-only;
			};

			partition@120000 {
				label = "hist_boot";
				reg = <0x00120000 0x000e0000>;
				read-only;
			};
		};
	};
};

&rtc {
	status = "disabled";
};
